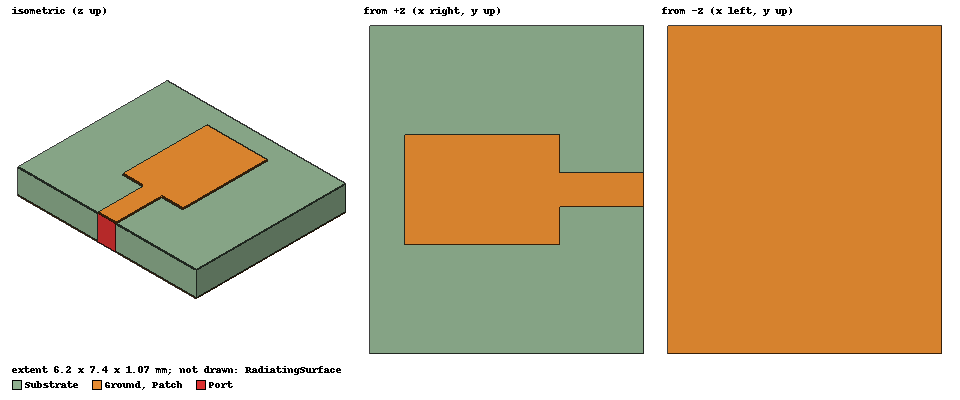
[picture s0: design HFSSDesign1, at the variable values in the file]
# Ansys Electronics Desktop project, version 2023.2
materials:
  vacuum: permittivity=1
  copper: permeability=0.999991 conductivity=58000000
  aluminum: permeability=1.000021 conductivity=38000000
  CustomMaterial: permittivity=3.5 permeability=1.5 conductivity=450000
  FR4_epoxy: permittivity=4.4 dielectric_loss_tangent=0.02

design HFSSDesign1 (HFSS, HFSS Terminal Network, model units mm)
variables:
  Ls = 6.2mm
  Ws = 7.4mm
  Hp = 0.035mm
  Hs = 1mm
  A = 0.8mm
  Wp = 2.5mm
  Lp = 3.5mm
  Wf = 0.75mm
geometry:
  Ground [copper] = box(corner=(0mm, 0mm, 0mm), size=(Ls, Ws, Hp))
  Substrate [FR4_epoxy] = box(corner=(0mm, 0mm, Hp), size=(Ls, Ws, Hs))
  Patch [copper] = box(corner=(A, Ws/2.0-Wp/2.0, Hp+Hs), size=(Lp, Wp, Hp))
  FeedLine = box(corner=(A+Lp, Ws/2-Wf/2, Hp+Hs), size=(Ls-A-Lp, Wf, Hp))
  Patch.unite(FeedLine)
  Port = rectangle(corner=(Ls, Ws/2-Wf/2, Hp+Hs), y_size=Wf, z_size=-(Hp+Hs))
  RadiatingSurface [vacuum] = region(absolute_offset=2.6315789mm on all sides)
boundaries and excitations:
  Open1: Radiation Objects=RadiatingSurface
  Port_T1: Terminal port=1 Edges=Patch.edge(at (6.2, 3.7, 1.035)) TerminalResistance=50ohm
  1: Lumped Port Faces=Port.face LumpedPortType=Terminal Impedance=50ohm
  reference conductors: Ground
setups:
  Setup1: HfssDriven Frequency=40GHz MaxDeltaS=0.02 MaximumPasses=10 MinimumPasses=1 MinimumConvergedPasses=1 PercentRefinement=30 BasisOrder=1 PortAccuracy=2 DrivenSolverType="Direct Solver"
    sweep Sweep: 30GHz to 45GHz, 401 points; Type=Fast SaveFields
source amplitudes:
  1:1: 1V 0deg
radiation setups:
  3D: Infinite Sphere Theta=0deg..180deg step 2deg Phi=-180deg..180deg step 2deg
  Elevation: Infinite Sphere Theta=-180deg..180deg step 1deg Phi=0deg..90deg step 90deg
  Azimuth: Infinite Sphere Theta=90deg..90deg step 0deg Phi=-180deg..180deg step 1deg
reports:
  Terminal S Parameter Plot 1: dB(St(Port_T1,Port_T1)) vs Freq on Setup1 : Sweep; markers m1 at 39.225GHz, MY1 at y=-9.58685
  Terminal VSWR Plot 1: VSWRt(Port_T1) vs Freq on Setup1 : Sweep
